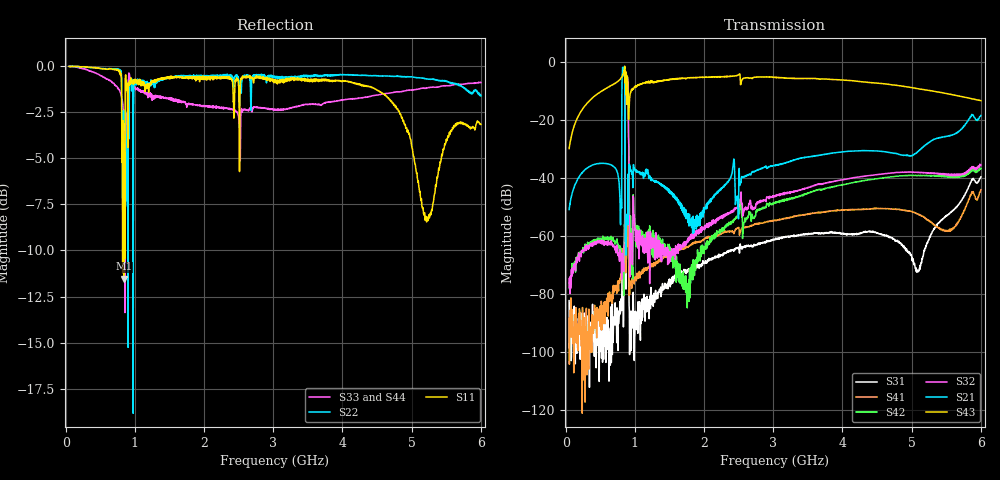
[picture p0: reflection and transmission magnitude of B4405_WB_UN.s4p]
! Matrix data file written by TouchstoneData, EPCOS AG
! FILENAME: "ansys_B4405_01_WB.s4p"
! COMMENT: "(B4405_01_WB.s4p) Epcos AG 2/4/2013 4:13:42"
! INFO: nport=4, nfreq=1601
! DATE: "Fri Feb 22 09:42:22 2013"
! USER: "Daniel Harbusch"
!port | pin | signal
!  1  |  3  |  TX Input
!  2  |  6  |  Antenna
!  3  |  8  |  RX output (balanced)
!  4  |  1  |  RX output (balanced)
# MHZ S MA R 50
! freq  magS11 angS11  magS12 angS12  magS13 angS13  magS14 angS14  ...
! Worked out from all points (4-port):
!   1601 points, 50 MHz to 6 GHz, reference 50 ohm
!   strongest paths, dB at 50 MHz, 1.538 GHz, 3.025 GHz, 4.513 GHz, 6 GHz:
!     S43: -29.9, -6.0, -5.4, -7.4, -13.5
!     S21: -50.9, -45.8, -35.6, -30.8, -18.5
!     S32: -77.7, -64.8, -46.2, -38.8, -35.6
!     S42: -78.1, -67.6, -48.4, -40.2, -36.8
!     S41: -88.3, -66.3, -54.7, -50.6, -44.1
!     S31: -82.2, -75.4, -61.1, -59.0, -39.6
!   lowest |S11| = -11.5 dB at 842.1 MHz (marker M1), VSWR 1.72, Z = 49.5 + j27.4 ohm
!   |S11| at or under -10 dB: 822.8607 MHz to 824.2284 MHz (1.368 MHz wide, 0.166 % of centre); 841.2412 MHz to 842.9029 MHz (1.662 MHz wide, 0.197 % of centre); 855.9368 MHz to 857.1357 MHz (1.199 MHz wide, 0.14 % of centre)
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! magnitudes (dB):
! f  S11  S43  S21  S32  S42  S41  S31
! 50 MHz  0.0  -29.9  -50.9  -77.7  -78.1  -88.3  -82.2
! 842.1 MHz  -11.5  -3.3  -1.9  -63.5  -68.6  -68.0  -69.3
! 886.7 MHz  -0.9  -9.2  -55.3  -6.9  -7.0  -57.9  -56.8
! 953.7 MHz  -1.0  -9.5  -38.7  -64.6  -60.9  -78.0  -91.8
! 1.757 GHz  -0.6  -5.6  -53.3  -61.9  -84.7  -63.8  -71.7
! 5.089 GHz  -6.2  -9.3  -31.0  -38.1  -39.2  -52.4  -72.0
! 6 GHz  -3.2  -13.5  -18.5  -35.6  -36.8  -44.1  -39.6
